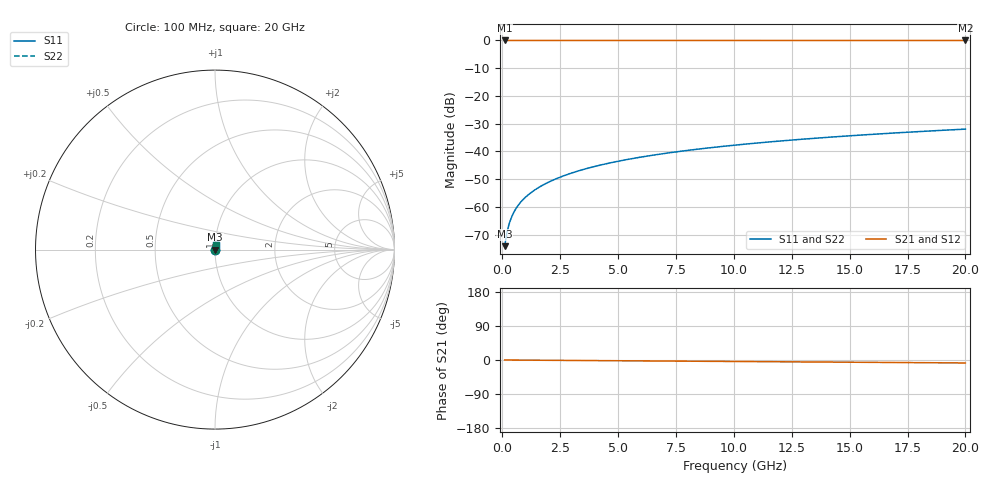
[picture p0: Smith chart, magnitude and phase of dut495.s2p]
! Touchstone file exported from HFSS 2026.1.0
!  File:  C:/ffzhzh/LocalFiles/Ansys_Project_Files/temp_train_TSV_495_1783022952_53980.aedt
!  Generated:  04:10:45 AM Jul  3, 2026
!  Design:  TSV
!  Project:  temp_train_TSV_495_1783022952_53980
! Variables:
!  h_bsmrdl = 2um
!  h_ox = 20um
!  h_rdl = 5um
!  h_sub = 72.84um
!  h_tmrdl = 5um
!  h_tsv = 72.84um
!  h_via = 3um
!  l_bsmrdl = 300um
!  l_sub = 421.18um
!  l_tmrdl = 200um
!  m_sub = 200um
!  pitch = 52.59um
!  r_tsv = 10.59um
!  s_tmrdl = 10um
!  w_bsmrdl = 18um
!  w_sub = 500um
!  w_tmrdl = 12um
!  x_tsv_center1 = 206um
!  x_tsv_center2 = 524um
!  x_tsv_center3 = 736um
!  x_tsv_center4 = 1054um
!  x_tsv_center5 = 1266um
!  x_tsv_center6 = 1584um
# GHz S MA R 50.000000
! Terminal data exported
! Port[1] = TSV1_1_T1
! Port[2] = TSV1_1_T2
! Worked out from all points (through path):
!   200 points, 100 MHz to 20 GHz, reference 50 ohm
!   highest |S21| = 0.00 dB at 100 MHz (marker M1); lowest = 0.0 dB at 20 GHz (marker M2)
!   group delay of S21, straight-line fit = 1.08 ps
!   lowest |S11| = -74.2 dB at 100 MHz (marker M3), VSWR 1.00, Z = 50 + j0.0164 ohm
!   |S11| at or under -10 dB: start of sweep to end of sweep
!   |S22| runs from -74.2 to -32.0 dB; largest |S21 - S12| = 2.2e-15
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0.1  0.0001959 56.8  0.9999 -0.0  0.9999 -0.0  0.0001959 56.8
! Gamma 0 0 0 0
! Port Impedance 50 0 50 0
0.2  0.0003463 70.1  0.9999 -0.1  0.9999 -0.1  0.0003463 70.1
0.3  0.0005014 74.5  0.9999 -0.1  0.9999 -0.1  0.0005014 74.5
0.4  0.000654 76.4  0.9998 -0.2  0.9998 -0.2  0.000654 76.4
0.5  0.0008024 77.4  0.9998 -0.2  0.9998 -0.2  0.0008024 77.4
0.6  0.0009465 78.0  0.9998 -0.2  0.9998 -0.2  0.0009465 78.0
0.7  0.001087 78.5  0.9998 -0.3  0.9998 -0.3  0.001087 78.5
0.9  0.001359 79.1  0.9998 -0.4  0.9998 -0.4  0.001359 79.1
1.1  0.001625 79.7  0.9997 -0.4  0.9997 -0.4  0.001625 79.7
1.3  0.001886 80.3  0.9997 -0.5  0.9997 -0.5  0.001886 80.3
1.6  0.002276 81.0  0.9997 -0.6  0.9997 -0.6  0.002276 81.0
1.9  0.002664 81.6  0.9996 -0.8  0.9996 -0.8  0.002664 81.6
2.6  0.00357 82.5  0.9996 -1.0  0.9996 -1.0  0.00357 82.5
3.5  0.004731 83.0  0.9995 -1.4  0.9995 -1.4  0.004731 83.0
4.2  0.005629 83.2  0.9995 -1.6  0.9995 -1.6  0.005629 83.2
5  0.00665 83.3  0.9994 -2.0  0.9994 -2.0  0.00665 83.3
6.8  0.008925 83.2  0.9993 -2.7  0.9993 -2.7  0.008925 83.2
8.3  0.01081 82.9  0.9992 -3.2  0.9992 -3.2  0.01081 82.9
10.1  0.01305 82.6  0.9991 -3.9  0.9991 -3.9  0.01305 82.6
13.4  0.01714 81.7  0.9989 -5.2  0.9989 -5.2  0.01714 81.7
16.7  0.0212 80.8  0.9988 -6.5  0.9988 -6.5  0.0212 80.8
20  0.02523 79.7  0.9986 -7.8  0.9986 -7.8  0.02523 79.7
